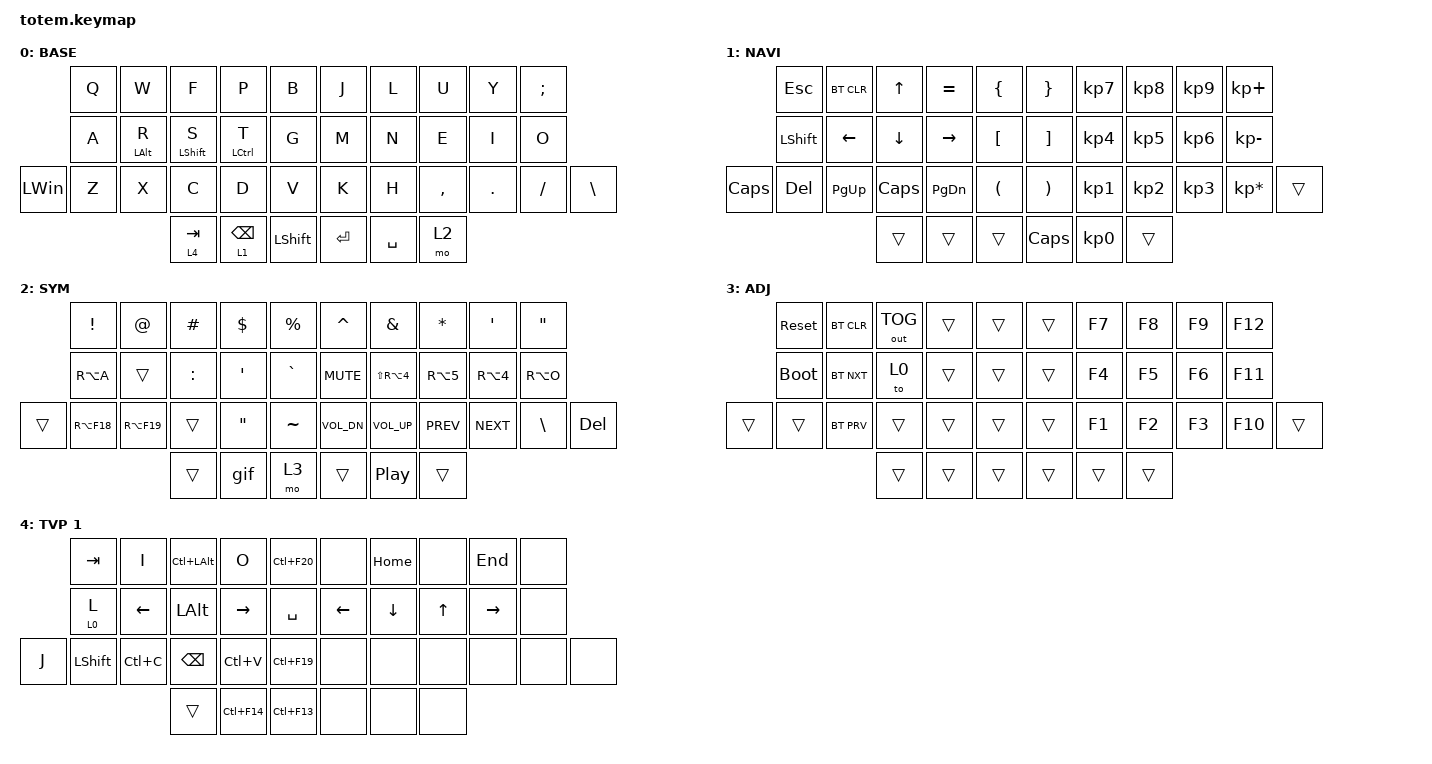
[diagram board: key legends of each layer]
//
//                                                        ▀▀▀▀▀     ▀▀▀▀▀          ▀▀█▀▀
//                                                        ▄▀▀▀▄  ▄  ▄▀▀▀▄  ▄  ▄▀▀▀▄  █  ▄▀▀▀▄
//                                                        █   █  █  █   █  █  █   █  █  █   █
//                                                         ▀▀▀   █   ▀▀▀   █   ▀▀▀   ▀   ▀▀▀
//                                                               █      ▄▄▄█▄▄▄    █   █  
//                                                               ▀      █  █  █     █▄█
//                                                             ▀▀▀▀▀    █  █  █      ▀
//                                                                      ▀  ▀  ▀
//
// ▄▄▄▄▄▄▄▄▄▄▄▄▄▄▄▄▄▄▄▄▄▄▄▄▄▄▄▄▄▄▄▄▄▄▄▄▄▄▄▄▄▄▄▄▄▄▄▄▄▄▄▄▄▄▄▄▄▄▄▄▄▄▄▄▄▄▄▄▄▄▄▄▄▄▄▄▄▄▄▄▄▄▄▄▄▄▄▄▄▄▄▄▄▄▄▄▄▄▄▄▄▄▄▄▄▄▄▄▄▄▄▄▄▄▄▄▄▄▄▄▄▄▄▄▄▄▄▄▄▄▄▄▄▄▄▄▄▄▄▄▄▄▄▄▄▄▄▄▄

#include <behaviors.dtsi>
#include <dt-bindings/zmk/bt.h>
#include <dt-bindings/zmk/keys.h>
#include <dt-bindings/zmk/outputs.h>

#define BASE 0
#define NAV  1
#define SYM  2
#define ADJ  3
#define TVP1 4
#define TVP2 5

&mt {
    quick-tap-ms = <100>;
    global-quick-tap;
    flavor = "tap-preferred";
    tapping-term-ms = <170>;
};

/ {
    combos {
        compatible = "zmk,combos";

        combo_esc {
            timeout-ms = <50>;
            key-positions = <0 1>;
            bindings = <&kp ESC>;
        };

        equal {
            bindings = <&kp EQUAL>;
            key-positions = <13 24>;
        };

        underscore {
            bindings = <&kp UNDER>;
            key-positions = <15 26>;
        };

        leftbrack {
            bindings = <&kp LEFT_BRACKET>;
            key-positions = <27 28>;
        };

        rightbrack {
            bindings = <&kp RIGHT_BRACKET>;
            key-positions = <29 28>;
        };

        plus {
            bindings = <&kp PLUS>;
            key-positions = <6 16>;
        };

        minus {
            bindings = <&kp MINUS>;
            key-positions = <16 27>;
        };

        leftparen {
            bindings = <&kp LEFT_PARENTHESIS>;
            key-positions = <6 7>;
        };

        rightparen {
            bindings = <&kp RIGHT_PARENTHESIS>;
            key-positions = <7 8>;
        };
    };

    macros {
        gif: gif {
            label = "giphy";
            compatible = "zmk,behavior-macro";
            #binding-cells = <0>;
            bindings =
                <&macro_press>,
                <&kp LSHFT>,
                <&macro_tap>,
                <&kp N2>,
                <&macro_release>,
                <&kp LSHFT>,
                <&macro_tap>,
                <&kp G &kp I &kp F>;
        };
    };

    keymap {
        compatible = "zmk,keymap";

        // ▄▄▄▄▄▄▄▄▄▄▄▄▄▄▄▄▄▄▄▄▄▄▄▄▄▄▄▄▄▄▄▄▄▄▄▄▄▄▄▄▄▄▄▄▄▄▄▄▄▄▄▄▄▄▄▄▄▄▄▄▄▄▄▄▄▄▄▄▄▄▄▄▄▄▄▄▄▄▄▄▄▄▄▄▄▄▄▄▄▄▄▄▄▄▄▄▄▄▄▄▄▄▄▄▄▄▄▄▄▄▄▄▄▄▄▄▄▄▄▄▄▄▄▄▄▄▄▄▄▄▄▄▄▄▄▄▄▄▄▄▄▄▄▄▄▄▄▄▄

        base_layer {
            // ┏━━━━━━━━━━━━━━━━━━━━━━━━━━━━━━━━━━━━━━━┓

            label = "BASE";

            // ┗━━━━━━━━━━━━━━━━━━━━━━━━━━━━━━━━━━━━━━━┛
            //             ┏━━━━━━━━━━━┳━━━━━━━━━━━┳━━━━━━━━━━━┳━━━━━━━━━━━┳━━━━━━━━━━━┓   ┏━━━━━━━━━━━┳━━━━━━━━━━━┳━━━━━━━━━━━┳━━━━━━━━━━━┳━━━━━━━━━━━┓
            //             ┃     Q     ┃     W     ┃     F     ┃     P     ┃     G     ┃   ┃     J     ┃     L     ┃     U     ┃     Y     ┃     ;     ┃
            //             ┣━━━━━━━━━━━╋━━━━━━━━━━━╋━━━━━━━━━━━╋━━━━━━━━━━━╋━━━━━━━━━━━┫   ┣━━━━━━━━━━━╋━━━━━━━━━━━╋━━━━━━━━━━━╋━━━━━━━━━━━╋━━━━━━━━━━━┫
            //             ┃     A     ┃     R     ┃     S     ┃     T     ┃     D     ┃   ┃     H     ┃     N     ┃     E     ┃     I     ┃     O     ┃
            // ┏━━━━━━━━━━━╋━━━━━━━━━━━╋━━━━━━━━━━━╋━━━━━━━━━━━╋━━━━━━━━━━━╋━━━━━━━━━━━┫   ┣━━━━━━━━━━━╋━━━━━━━━━━━╋━━━━━━━━━━━╋━━━━━━━━━━━╋━━━━━━━━━━━╋━━━━━━━━━━━┓
            // ┃     Q     ┃     Z     ┃     X     ┃     C     ┃     V     ┃     B     ┃   ┃     K     ┃     M     ┃     ,     ┃     .     ┃     /     ┃     \     ┃
            // ┗━━━━━━━━━━━┻━━━━━━━━━━━┻━━━━━━━━━━━╋━━━━━━━━━━━╋━━━━━━━━━━━╋━━━━━━━━━━━┫   ┣━━━━━━━━━━━╋━━━━━━━━━━━╋━━━━━━━━━━━╋━━━━━━━━━━━┻━━━━━━━━━━━┻━━━━━━━━━━━┛
            //                                     ┃    DEL    ┃    TAB    ┃    SPC    ┃   ┃   ENTER   ┃           ┃   BSPC    ┃
            //                                     ┗━━━━━━━━━━━┻━━━━━━━━━━━┻━━━━━━━━━━━┛   ┗━━━━━━━━━━━┻━━━━━━━━━━━┻━━━━━━━━━━━┛

            bindings = <
              &kp Q  &kp W       &kp F             &kp P               &kp B             &kp J    &kp L      &kp U      &kp Y    &kp SEMI
              &kp A  &mt LALT R  &mt LEFT_SHIFT S  &mt LEFT_CONTROL T  &kp G             &kp M    &kp N      &kp E      &kp I    &kp O
&kp LEFT_WIN  &kp Z  &kp X       &kp C             &kp D               &kp V             &kp K    &kp H      &kp COMMA  &kp DOT  &kp FSLH  &kp BSLH
                                 &lt 4 TAB         &lt 1 BACKSPACE     &kp LEFT_SHIFT    &kp RET  &kp SPACE  &mo 2
            >;
        };

        // ▄▄▄▄▄▄▄▄▄▄▄▄▄▄▄▄▄▄▄▄▄▄▄▄▄▄▄▄▄▄▄▄▄▄▄▄▄▄▄▄▄▄▄▄▄▄▄▄▄▄▄▄▄▄▄▄▄▄▄▄▄▄▄▄▄▄▄▄▄▄▄▄▄▄▄▄▄▄▄▄▄▄▄▄▄▄▄▄▄▄▄▄▄▄▄▄▄▄▄▄▄▄▄▄▄▄▄▄▄▄▄▄▄▄▄▄▄▄▄▄▄▄▄▄▄▄▄▄▄▄▄▄▄▄▄▄▄▄▄▄▄▄▄▄▄▄▄▄▄

        nav_layer {
            // ┏━━━━━━━━━━━━━━━━━━━━━━━━━━━━━━━━━━━━━━━┓

            label = "NAVI";

            // ┗━━━━━━━━━━━━━━━━━━━━━━━━━━━━━━━━━━━━━━━┛
            //             ┏━━━━━━━━━━━┳━━━━━━━━━━━┳━━━━━━━━━━━┳━━━━━━━━━━━┳━━━━━━━━━━━┓   ┏━━━━━━━━━━━┳━━━━━━━━━━━┳━━━━━━━━━━━┳━━━━━━━━━━━┳━━━━━━━━━━━┓
            //             ┃           ┃           ┃     UP    ┃           ┃     {     ┃   ┃     }     ┃     7     ┃     8     ┃     9     ┃     +     ┃
            //             ┣━━━━━━━━━━━╋━━━━━━━━━━━╋━━━━━━━━━━━╋━━━━━━━━━━━╋━━━━━━━━━━━┫   ┣━━━━━━━━━━━╋━━━━━━━━━━━╋━━━━━━━━━━━╋━━━━━━━━━━━╋━━━━━━━━━━━┫
            //             ┃   SHIFT   ┃   LEFT    ┃    DOWN   ┃   RIGHT   ┃     [     ┃   ┃     ]     ┃     4     ┃     5     ┃     6     ┃     -     ┃
            // ┏━━━━━━━━━━━╋━━━━━━━━━━━╋━━━━━━━━━━━╋━━━━━━━━━━━╋━━━━━━━━━━━╋━━━━━━━━━━━┫   ┣━━━━━━━━━━━╋━━━━━━━━━━━╋━━━━━━━━━━━╋━━━━━━━━━━━╋━━━━━━━━━━━╋━━━━━━━━━━━┓
            // ┃           ┃           ┃   P UP    ┃  C LOCK   ┃  P DOWN   ┃     (     ┃   ┃     )     ┃     1     ┃     2     ┃     3     ┃     *     ┃           ┃
            // ┗━━━━━━━━━━━┻━━━━━━━━━━━┻━━━━━━━━━━━╋━━━━━━━━━━━╋━━━━━━━━━━━╋━━━━━━━━━━━┫   ┣━━━━━━━━━━━╋━━━━━━━━━━━╋━━━━━━━━━━━╋━━━━━━━━━━━┻━━━━━━━━━━━┻━━━━━━━━━━━┛
            //                                     ┃           ┃    TAB    ┃    SPC    ┃   ┃    DEL    ┃     0     ┃           ┃
            //                                     ┗━━━━━━━━━━━┻━━━━━━━━━━━┻━━━━━━━━━━━┛   ┗━━━━━━━━━━━┻━━━━━━━━━━━┻━━━━━━━━━━━┛

            bindings = <
          &kp ESC    &bt BT_CLR  &kp UP    &kp EQUAL  &kp LBRC    &kp RBRC  &kp KP_N7  &kp KP_N8  &kp KP_N9  &kp KP_PLUS
          &kp LSHFT  &kp LEFT    &kp DOWN  &kp RIGHT  &kp LBKT    &kp RBKT  &kp KP_N4  &kp KP_N5  &kp KP_N6  &kp KP_MINUS
&kp CAPS  &kp DEL    &kp PG_UP   &kp CAPS  &kp PG_DN  &kp LPAR    &kp RPAR  &kp KP_N1  &kp KP_N2  &kp KP_N3  &kp KP_MULTIPLY  &trans
                                 &trans    &trans     &trans      &kp CAPS  &kp KP_N0  &trans
            >;
        };

        // ▄▄▄▄▄▄▄▄▄▄▄▄▄▄▄▄▄▄▄▄▄▄▄▄▄▄▄▄▄▄▄▄▄▄▄▄▄▄▄▄▄▄▄▄▄▄▄▄▄▄▄▄▄▄▄▄▄▄▄▄▄▄▄▄▄▄▄▄▄▄▄▄▄▄▄▄▄▄▄▄▄▄▄▄▄▄▄▄▄▄▄▄▄▄▄▄▄▄▄▄▄▄▄▄▄▄▄▄▄▄▄▄▄▄▄▄▄▄▄▄▄▄▄▄▄▄▄▄▄▄▄▄▄▄▄▄▄▄▄▄▄▄▄▄▄▄▄▄▄

        sim_layer {
            // ┏━━━━━━━━━━━━━━━━━━━━━━━━━━━━━━━━━━━━━━━┓

            label = "SYM";

            // ┗━━━━━━━━━━━━━━━━━━━━━━━━━━━━━━━━━━━━━━━┛
            //             ┏━━━━━━━━━━━┳━━━━━━━━━━━┳━━━━━━━━━━━┳━━━━━━━━━━━┳━━━━━━━━━━━┓   ┏━━━━━━━━━━━┳━━━━━━━━━━━┳━━━━━━━━━━━┳━━━━━━━━━━━┳━━━━━━━━━━━┓
            //             ┃     !     ┃     @     ┃     #     ┃     $     ┃     %     ┃   ┃     ˆ     ┃     &     ┃     Ü     ┃     '     ┃     "     ┃
            //             ┣━━━━━━━━━━━╋━━━━━━━━━━━╋━━━━━━━━━━━╋━━━━━━━━━━━╋━━━━━━━━━━━┫   ┣━━━━━━━━━━━╋━━━━━━━━━━━╋━━━━━━━━━━━╋━━━━━━━━━━━╋━━━━━━━━━━━┫
            //             ┃     Ä     ┃           ┃    SZ     ┃           ┃           ┃   ┃   MUTE    ┃   YEN     ┃   EURO    ┃  POUND    ┃     Ö     ┃
            // ┏━━━━━━━━━━━╋━━━━━━━━━━━╋━━━━━━━━━━━╋━━━━━━━━━━━╋━━━━━━━━━━━╋━━━━━━━━━━━┫   ┣━━━━━━━━━━━╋━━━━━━━━━━━╋━━━━━━━━━━━╋━━━━━━━━━━━╋━━━━━━━━━━━╋━━━━━━━━━━━┓
            // ┃           ┃  EMAIL1   ┃  EMAIL2   ┃           ┃           ┃           ┃   ┃   VOL-    ┃   VOL+    ┃   LAST    ┃   NEXT    ┃     \     ┃           ┃
            // ┗━━━━━━━━━━━┻━━━━━━━━━━━┻━━━━━━━━━━━╋━━━━━━━━━━━╋━━━━━━━━━━━╋━━━━━━━━━━━┫   ┣━━━━━━━━━━━╋━━━━━━━━━━━╋━━━━━━━━━━━╋━━━━━━━━━━━┻━━━━━━━━━━━┻━━━━━━━━━━━┛
            //                                     ┃           ┃    GIF    ┃    ADJ    ┃   ┃           ┃           ┃           ┃
            //                                     ┗━━━━━━━━━━━┻━━━━━━━━━━━┻━━━━━━━━━━━┛   ┗━━━━━━━━━━━┻━━━━━━━━━━━┻━━━━━━━━━━━┛

            bindings = <
        &kp EXCL     &kp AT       &kp HASH   &kp DLLR  &kp PRCNT    &kp CARET     &kp AMPS        &kp STAR    &kp SQT     &kp DQT
        &kp RA(A)    &trans       &kp COLON  &kp SQT   &kp GRAVE    &kp C_MUTE    &kp LS(RA(N4))  &kp RA(N5)  &kp RA(N4)  &kp RA(O)
&trans  &kp RA(F18)  &kp RA(F19)  &trans     &kp DQT   &kp TILDE    &kp C_VOL_DN  &kp C_VOL_UP    &kp C_PREV  &kp C_NEXT  &kp BSLH   &kp DELETE
                                  &trans     &gif      &mo 3        &trans        &kp C_PP        &trans
            >;
        };

        // ▄▄▄▄▄▄▄▄▄▄▄▄▄▄▄▄▄▄▄▄▄▄▄▄▄▄▄▄▄▄▄▄▄▄▄▄▄▄▄▄▄▄▄▄▄▄▄▄▄▄▄▄▄▄▄▄▄▄▄▄▄▄▄▄▄▄▄▄▄▄▄▄▄▄▄▄▄▄▄▄▄▄▄▄▄▄▄▄▄▄▄▄▄▄▄▄▄▄▄▄▄▄▄▄▄▄▄▄▄▄▄▄▄▄▄▄▄▄▄▄▄▄▄▄▄▄▄▄▄▄▄▄▄▄▄▄▄▄▄▄▄▄▄▄▄▄▄▄▄

        adjust_layer {
            // ┏━━━━━━━━━━━━━━━━━━━━━━━━━━━━━━━━━━━━━━━┓

            label = "ADJ";

            // ┗━━━━━━━━━━━━━━━━━━━━━━━━━━━━━━━━━━━━━━━┛
            //             ┏━━━━━━━━━━━┳━━━━━━━━━━━┳━━━━━━━━━━━┳━━━━━━━━━━━┳━━━━━━━━━━━┓   ┏━━━━━━━━━━━┳━━━━━━━━━━━┳━━━━━━━━━━━┳━━━━━━━━━━━┳━━━━━━━━━━━┓
            //             ┃   RESET   ┃ BT CLEAR  ┃  OUT TOG  ┃           ┃           ┃   ┃           ┃    F7     ┃    F8     ┃    F9     ┃    F12    ┃
            //             ┣━━━━━━━━━━━╋━━━━━━━━━━━╋━━━━━━━━━━━╋━━━━━━━━━━━╋━━━━━━━━━━━┫   ┣━━━━━━━━━━━╋━━━━━━━━━━━╋━━━━━━━━━━━╋━━━━━━━━━━━╋━━━━━━━━━━━┫
            //             ┃ BOOTLOAD  ┃ BT NEXT   ┃           ┃           ┃           ┃   ┃           ┃    F4     ┃    F5     ┃    F6     ┃    F11    ┃
            // ┏━━━━━━━━━━━╋━━━━━━━━━━━╋━━━━━━━━━━━╋━━━━━━━━━━━╋━━━━━━━━━━━╋━━━━━━━━━━━┫   ┣━━━━━━━━━━━╋━━━━━━━━━━━╋━━━━━━━━━━━╋━━━━━━━━━━━╋━━━━━━━━━━━╋━━━━━━━━━━━┓
            // ┃           ┃           ┃ BT PREV   ┃           ┃           ┃           ┃   ┃           ┃    F1     ┃    F2     ┃    F3     ┃    F10    ┃           ┃
            // ┗━━━━━━━━━━━┻━━━━━━━━━━━┻━━━━━━━━━━━╋━━━━━━━━━━━╋━━━━━━━━━━━╋━━━━━━━━━━━┫   ┣━━━━━━━━━━━╋━━━━━━━━━━━╋━━━━━━━━━━━╋━━━━━━━━━━━┻━━━━━━━━━━━┻━━━━━━━━━━━┛
            //                                     ┃           ┃           ┃           ┃   ┃           ┃           ┃           ┃
            //                                     ┗━━━━━━━━━━━┻━━━━━━━━━━━┻━━━━━━━━━━━┛   ┗━━━━━━━━━━━┻━━━━━━━━━━━┻━━━━━━━━━━━┛

            bindings = <
        &sys_reset   &bt BT_CLR  &out OUT_TOG  &trans  &trans    &trans  &kp F7  &kp F8  &kp F9  &kp F12
        &bootloader  &bt BT_NXT  &to 0         &trans  &trans    &trans  &kp F4  &kp F5  &kp F6  &kp F11
&trans  &trans       &bt BT_PRV  &trans        &trans  &trans    &trans  &kp F1  &kp F2  &kp F3  &kp F10  &trans
                                 &trans        &trans  &trans    &trans  &trans  &trans
            >;
        };

        // ▄▄▄▄▄▄▄▄▄▄▄▄▄▄▄▄▄▄▄▄▄▄▄▄▄▄▄▄▄▄▄▄▄▄▄▄▄▄▄▄▄▄▄▄▄▄▄▄▄▄▄▄▄▄▄▄▄▄▄▄▄▄▄▄▄▄▄▄▄▄▄▄▄▄▄▄▄▄▄▄▄▄▄▄▄▄▄▄▄▄▄▄▄▄▄▄▄▄▄▄▄▄▄▄▄▄▄▄▄▄▄▄▄▄▄▄▄▄▄▄▄▄▄▄▄▄▄▄▄▄▄▄▄▄▄▄▄▄▄▄▄▄▄▄▄▄▄▄▄

        Misc {
            // ┏━━━━━━━━━━━━━━━━━━━━━━━━━━━━━━━━━━━━━━━┓

            label = "TVP 1";

            // ┗━━━━━━━━━━━━━━━━━━━━━━━━━━━━━━━━━━━━━━━┛
            //             ┏━━━━━━━━━━━┳━━━━━━━━━━━┳━━━━━━━━━━━┳━━━━━━━━━━━┳━━━━━━━━━━━┓   ┏━━━━━━━━━━━┳━━━━━━━━━━━┳━━━━━━━━━━━┳━━━━━━━━━━━┳━━━━━━━━━━━┓
            //             ┃ NEXT FILE ┃ MARK IN   ┃ ROTATE    ┃ MARK OUT  ┃ SHOW SNAP ┃   ┃           ┃           ┃           ┃           ┃           ┃
            //             ┣━━━━━━━━━━━╋━━━━━━━━━━━╋━━━━━━━━━━━╋━━━━━━━━━━━╋━━━━━━━━━━━┫   ┣━━━━━━━━━━━╋━━━━━━━━━━━╋━━━━━━━━━━━╋━━━━━━━━━━━╋━━━━━━━━━━━┫
            //             ┃ TVP II    ┃ LEFT      ┃ PAN       ┃ RIGHT     ┃ PLAY/FLIP ┃   ┃           ┃           ┃           ┃           ┃           ┃
            // ┏━━━━━━━━━━━╋━━━━━━━━━━━╋━━━━━━━━━━━╋━━━━━━━━━━━╋━━━━━━━━━━━╋━━━━━━━━━━━┫   ┣━━━━━━━━━━━╋━━━━━━━━━━━╋━━━━━━━━━━━╋━━━━━━━━━━━╋━━━━━━━━━━━╋━━━━━━━━━━━┓
            // ┃ FULLSCR   ┃ SHIFT     ┃ COPY      ┃ DELETE    ┃ PASTE     ┃ IMG MARK  ┃   ┃           ┃           ┃           ┃           ┃           ┃           ┃
            // ┗━━━━━━━━━━━┻━━━━━━━━━━━┻━━━━━━━━━━━╋━━━━━━━━━━━╋━━━━━━━━━━━╋━━━━━━━━━━━┫   ┣━━━━━━━━━━━╋━━━━━━━━━━━╋━━━━━━━━━━━╋━━━━━━━━━━━┻━━━━━━━━━━━┻━━━━━━━━━━━┛
            //                                     ┃           ┃ UNDO/SAVE ┃  SEL/MOV  ┃   ┃           ┃           ┃           ┃
            //                                     ┗━━━━━━━━━━━┻━━━━━━━━━━━┻━━━━━━━━━━━┛   ┗━━━━━━━━━━━┻━━━━━━━━━━━┻━━━━━━━━━━━┛

            bindings = <
       &kp TAB    &kp I      &kp LC(LALT)  &kp O        &kp LC(F20)    &none           &kp HOME        &none         &kp END    &none
       &lt 0 L    &kp LEFT   &kp LALT      &kp RIGHT    &kp SPACE      &kp LEFT_ARROW  &kp DOWN_ARROW  &kp UP_ARROW  &kp RIGHT  &none
&kp J  &kp LSHFT  &kp LC(C)  &kp BSPC      &kp LC(V)    &kp LC(F19)    &none           &none           &none         &none      &none  &none
                             &trans        &kp LC(F14)  &kp LC(F13)    &none           &none           &none
            >;
        };

        // ▄▄▄▄▄▄▄▄▄▄▄▄▄▄▄▄▄▄▄▄▄▄▄▄▄▄▄▄▄▄▄▄▄▄▄▄▄▄▄▄▄▄▄▄▄▄▄▄▄▄▄▄▄▄▄▄▄▄▄▄▄▄▄▄▄▄▄▄▄▄▄▄▄▄▄▄▄▄▄▄▄▄▄▄▄▄▄▄▄▄▄▄▄▄▄▄▄▄▄▄▄▄▄▄▄▄▄▄▄▄▄▄▄▄▄▄▄▄▄▄▄▄▄▄▄▄▄▄▄▄▄▄▄▄▄▄▄▄▄▄▄▄▄▄▄▄▄▄▄
    };

    conditional_layers {
        compatible = "zmk,conditional-layers";

        Layer3 {
            if-layers = <1 2>;
            then-layer = <3>;
        };
    };
};
